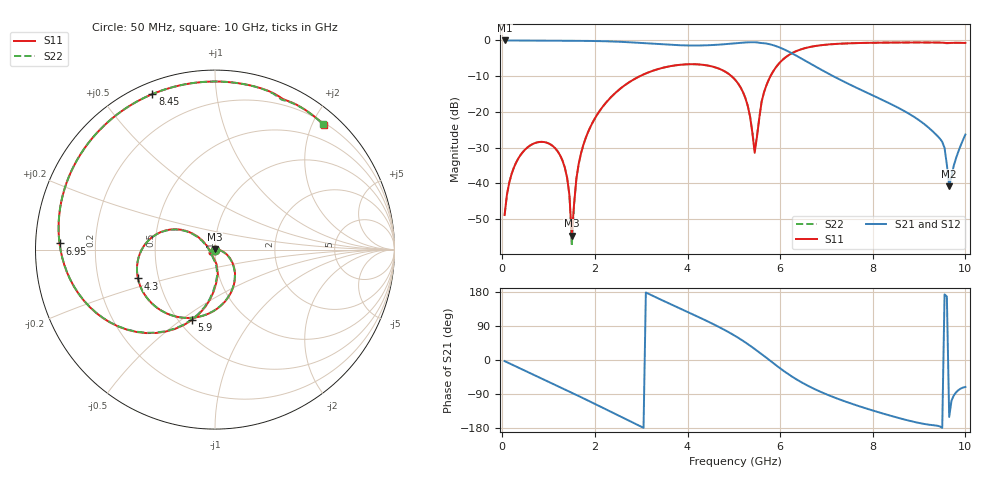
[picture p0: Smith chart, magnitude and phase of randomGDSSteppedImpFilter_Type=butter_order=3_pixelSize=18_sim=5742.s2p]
! freq	dB(S11)	phase(S11)	dB(S12)	phase(S12)
!  dB(S21)	phase(S21)	dB(S22)	phase(S22)
!S-par simulation data
#  GHz  S  DB  R 50
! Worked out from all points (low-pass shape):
!   200 points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, 50 MHz to 10 GHz, reference 50 ohm
!   highest |S21| = -0.01 dB at 50 MHz (marker M1); lowest = -40.8 dB at 9.65 GHz (marker M2)
!   |S21| within 3 dB of the highest: start of sweep to 6.165 GHz
!   lowest |S11| = -54.6 dB at 1.5 GHz (marker M3), VSWR 1.00, Z = 49.9 + j0.163 ohm
!   |S11| at or under -10 dB: start of sweep to 2.97 GHz; 4.95 GHz to 5.791 GHz (841.5 MHz wide, 15.7 % of centre)
!   |S22| runs from -57.5 to -0.6 dB; largest |S21 - S12| = 0
!   S11 on the Smith chart (normalised r, x): 50 MHz: 1.00, -0.01; 4.3 GHz: 0.38, -0.16; 5.9 GHz: 0.58, -0.55; 6.95 GHz: 0.07, +0.02; 8.45 GHz: 0.05, +0.67; 10 GHz: 0.24, +2.19
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0.05  -48.83 -87.5  -0.01 -2.9  -0.01 -2.9  -48.84 -87.4
0.35  -32.93 -109.9  -0.03 -20.1  -0.03 -20.1  -32.92 -109.7
1  -28.80 -148.8  -0.07 -57.3  -0.07 -57.3  -28.80 -148.2
1.4  -38.41 -175.6  -0.09 -80.4  -0.09 -80.4  -38.41 -172.2
1.5  -54.65 117.9  -0.10 -86.3  -0.10 -86.3  -57.54 114.9
1.6  -38.63 2.4  -0.11 -92.1  -0.11 -92.1  -38.69 -1.9
1.75  -29.25 -9.8  -0.12 -101.0  -0.12 -101.0  -29.26 -11.5
2.6  -12.96 -62.4  -0.42 -152.1  -0.42 -152.1  -12.97 -62.8
3.4  -7.88 -109.5  -1.06 160.7  -1.06 160.7  -7.88 -109.6
4.3  -6.77 -159.5  -1.41 109.8  -1.41 109.8  -6.77 -159.5
5.05  -11.34 155.6  -0.77 61.9  -0.77 61.9  -11.33 155.9
5.3  -18.29 143.2  -0.54 42.2  -0.54 42.2  -18.25 144.2
5.45  -31.44 -159.6  -0.51 29.1  -0.51 29.1  -30.62 -159.0
5.6  -17.11 -83.4  -0.73 15.8  -0.73 15.8  -17.08 -84.7
5.9  -7.67 -108.2  -1.54 -12.8  -1.54 -12.8  -7.67 -108.7
6.7  -1.69 -168.2  -6.84 -74.2  -6.84 -74.2  -1.69 -168.3
6.95  -1.24 177.7  -8.64 -88.0  -8.64 -88.0  -1.24 177.7
8.35  -0.60 115.9  -17.53 -145.9  -17.53 -145.9  -0.60 116.1
8.45  -0.59 112.0  -18.18 -149.4  -18.18 -149.4  -0.59 112.1
9.5  -0.63 69.5  -28.36 -179.0  -28.36 -179.0  -0.65 69.6
9.65  -0.70 64.0  -40.81 -150.3  -40.81 -150.3  -0.75 64.5
10  -0.70 48.6  -26.31 -71.1  -26.31 -71.1  -0.70 49.1
